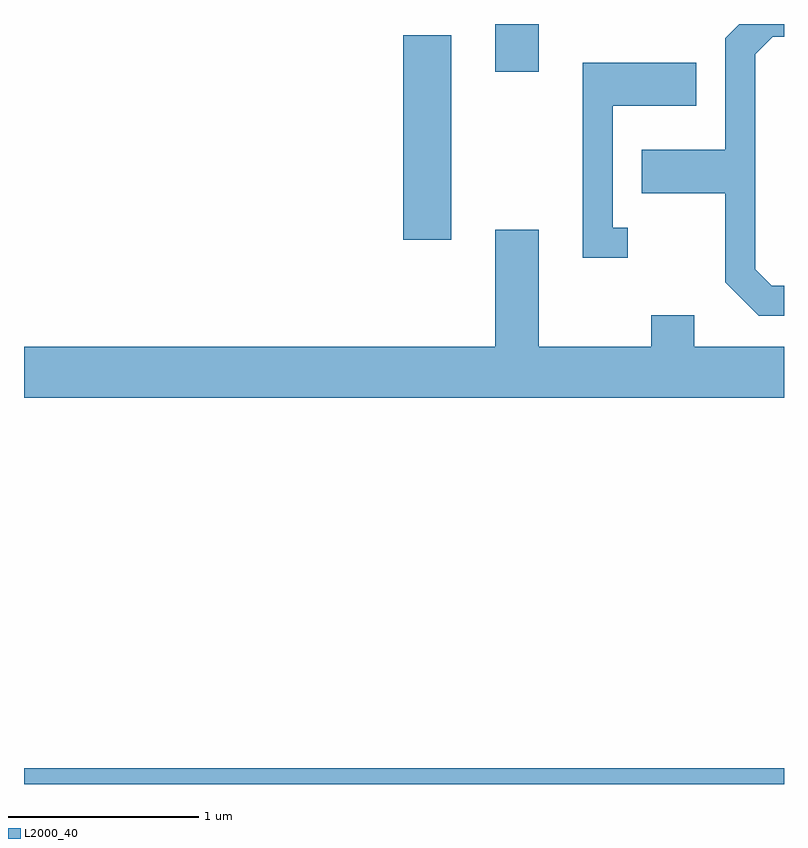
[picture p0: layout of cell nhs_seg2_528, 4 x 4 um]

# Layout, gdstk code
import gdstk
lib = gdstk.Library(unit=1e-6, precision=1e-09)
def R(c, l, rs):  # rectangles x0, y0, x1, y1
    for r in rs: c.add(gdstk.rectangle(r[:2], r[2:], *l))
def P(c, l, *ps):  # polygons
    for p in ps: c.add(gdstk.Polygon(p, *l))
L2000_40 = (2000, 40)

nhs_seg2_528 = lib.new_cell('nhs_seg2_528')
R(nhs_seg2_528, L2000_40, [(199.611,1081.802,203.611,1081.884), (201.606,1084.666,201.859,1085.744), (202.091,1085.551,202.319,1085.802)])
P(nhs_seg2_528, L2000_40, [(203.611,1084.424),(203.547,1084.424),(203.459,1084.512),(203.459,1085.644),(203.552,1085.736),(203.611,1085.736),(203.611,1085.802),(203.376,1085.802),(203.301,1085.727),(203.301,1085.139),(202.861,1085.139),(202.861,1084.911),(203.301,1084.911),(203.301,1084.444),(203.479,1084.266),(203.611,1084.266)],
  [(202.788,1084.729),(202.709,1084.729),(202.709,1085.371),(203.149,1085.371),(203.149,1085.599),(202.551,1085.599),(202.551,1084.571),(202.788,1084.571)],
  [(203.611,1084.104),(203.139,1084.104),(203.139,1084.269),(202.911,1084.269),(202.911,1084.104),(202.319,1084.104),(202.319,1084.719),(202.091,1084.719),(202.091,1084.104),(199.611,1084.104),(199.611,1083.836),(203.611,1083.836)])

lib.write_gds('nhs_seg2_528.gds')
